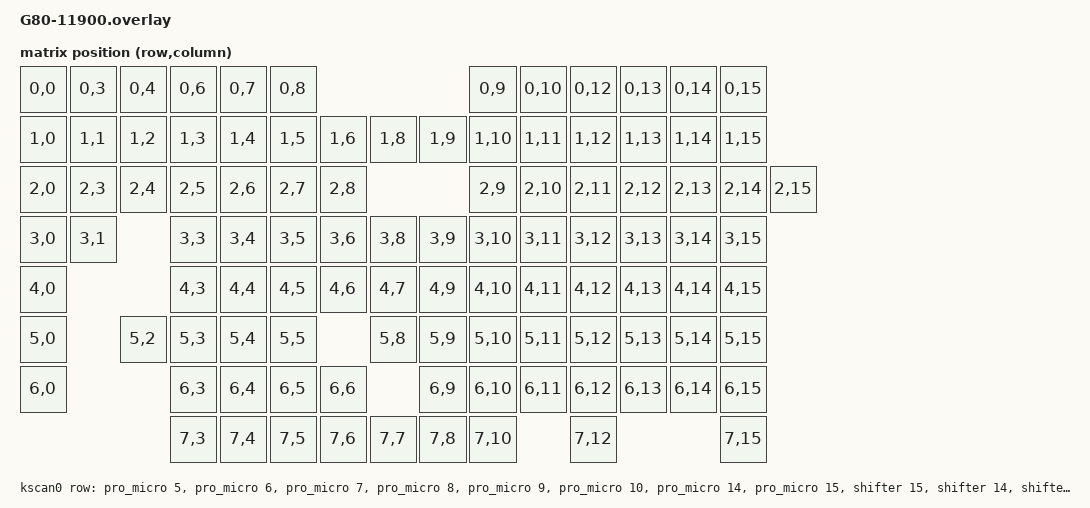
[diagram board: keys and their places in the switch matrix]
#include <dt-bindings/zmk/matrix_transform.h> 

&spi0 {
    status = "okay";
    cs-gpios = <&gpio0 4 GPIO_ACTIVE_LOW>;
    shifter: 595@0 {
        compatible = "zmk,gpio-595";
        status = "okay";
        gpio-controller;
        spi-max-frequency = <200000>;
        reg = <0>;
        #gpio-cells = <2>;
        ngpios = <16>;
    };
};

kscan0: kscan_0 {
    compatible = "zmk,kscan-gpio-matrix";
    diode-direction = "col2row";
    row-gpios
        = <&pro_micro 5 (GPIO_ACTIVE_HIGH | GPIO_PULL_DOWN)>
        , <&pro_micro 6 (GPIO_ACTIVE_HIGH | GPIO_PULL_DOWN)>
        , <&pro_micro 7 (GPIO_ACTIVE_HIGH | GPIO_PULL_DOWN)>
        , <&pro_micro 8 (GPIO_ACTIVE_HIGH | GPIO_PULL_DOWN)>
        , <&pro_micro 9 (GPIO_ACTIVE_HIGH | GPIO_PULL_DOWN)>
        , <&pro_micro 10 (GPIO_ACTIVE_HIGH | GPIO_PULL_DOWN)>
        , <&pro_micro 14 (GPIO_ACTIVE_HIGH | GPIO_PULL_DOWN)>
        , <&pro_micro 15 (GPIO_ACTIVE_HIGH | GPIO_PULL_DOWN)>
    col-gpios
        = <&shifter 15 GPIO_ACTIVE_HIGH>
        , <&shifter 14 GPIO_ACTIVE_HIGH>
        , <&shifter 13 GPIO_ACTIVE_HIGH>
        , <&shifter 12 GPIO_ACTIVE_HIGH>
        , <&shifter 11 GPIO_ACTIVE_HIGH>
        , <&shifter 10 GPIO_ACTIVE_HIGH>
        , <&shifter 9 GPIO_ACTIVE_HIGH>
        , <&shifter 8 GPIO_ACTIVE_HIGH>
        , <&shifter 7 GPIO_ACTIVE_HIGH>
        , <&shifter 6 GPIO_ACTIVE_HIGH>
        , <&shifter 5 GPIO_ACTIVE_HIGH>
        , <&shifter 4 GPIO_ACTIVE_HIGH>
        , <&shifter 3 GPIO_ACTIVE_HIGH>
        , <&shifter 2 GPIO_ACTIVE_HIGH>
        , <&shifter 1 GPIO_ACTIVE_HIGH>
        , <&shifter 0 GPIO_ACTIVE_HIGH>
    ;
};

/ {
    physical_layout0: physical_layout_0 {
        compatible = "zmk,physical-layout";
        display-name = "Cherry G80-11900";
        kscan = <&kscan0>;
        transform = <&matrix_transform0>;
        rows = <8>;
        columns = <16>;

        map = <
            RC(0,0)                 RC(0,3) RC(0,4)         RC(0,6) RC(0,7) RC(0,8) RC(0,9) RC(0,10)          RC(0,12) RC(0,13) RC(0,14) RC(0,15)
            RC(1,0) RC(1,1) RC(1,2) RC(1,3) RC(1,4) RC(1,5) RC(1,6)         RC(1,8) RC(1,9) RC(1,10) RC(1,11) RC(1,12) RC(1,13) RC(1,14) RC(1,15)
            RC(2,0)                 RC(2,3) RC(2,4) RC(2,5) RC(2,6) RC(2,7) RC(2,8) RC(2,9) RC(2,10) RC(2,11) RC(2,12) RC(2,13) RC(2,14) RC(2,15)
            RC(3,0) RC(3,1)         RC(3,3) RC(3,4) RC(3,5) RC(3,6)         RC(3,8) RC(3,9) RC(3,10) RC(3,11) RC(3,12) RC(3,13) RC(3,14) RC(3,15)
            RC(4,0)                 RC(4,3) RC(4,4) RC(4,5) RC(4,6) RC(4,7)         RC(4,9) RC(4,10) RC(4,11) RC(4,12) RC(4,13) RC(4,14) RC(4,15)
            RC(5,0)         RC(5,2) RC(5,3) RC(5,4) RC(5,5)                 RC(5,8) RC(5,9) RC(5,10) RC(5,11) RC(5,12) RC(5,13) RC(5,14) RC(5,15)
            RC(6,0)                 RC(6,3) RC(6,4) RC(6,5) RC(6,6)                 RC(6,9) RC(6,10) RC(6,11) RC(6,12) RC(6,13) RC(6,14) RC(6,15)
                                    RC(7,3) RC(7,4) RC(7,5) RC(7,6) RC(7,7) RC(7,8)         RC(7,10)          RC(7,12)                   RC(7,15)

        keys  //                     w   h    x    y     rot    rx    ry
            = <&key_physical_attrs 100 100  125  600       0     0     0>
            , <&key_physical_attrs 100 100 1800  400       0     0     0>
            , <&key_physical_attrs 200 100 1600  400       0     0     0>
            , <&key_physical_attrs 100 100 1450  625       0     0     0>
            , <&key_physical_attrs 100 100  200  700       0     0     0>
            , <&key_physical_attrs 100 100  600    0       0     0     0>
            , <&key_physical_attrs 100 100  700    0       0     0     0>
            , <&key_physical_attrs 100 100 1175  500       0     0     0>
            , <&key_physical_attrs 100 100  675  500       0     0     0>
            , <&key_physical_attrs 100 100    0    0       0     0     0>
            , <&key_physical_attrs 100 100  500    0       0     0     0>
            , <&key_physical_attrs 100 100  575  500       0     0     0>
            , <&key_physical_attrs 100 100  100  700       0     0     0>
            , <&key_physical_attrs 100 100 1000  700       0     0     0>
            , <&key_physical_attrs 100 100  325  600       0     0     0>
            , <&key_physical_attrs 100 100 1200  700       0     0     0>
            , <&key_physical_attrs 200 100 1225  600       0     0     0>
            , <&key_physical_attrs 100 100 1800    0       0     0     0>
            , <&key_physical_attrs 100 100 1700    0       0     0     0>
            , <&key_physical_attrs 100 100 1600    0       0     0     0>
            , <&key_physical_attrs 100 100 1300    0       0     0     0>
            , <&key_physical_attrs 150 200 1350  400       0     0     0>
            , <&key_physical_attrs 100 100  925  600       0     0     0>
            , <&key_physical_attrs 100 100 1275  500       0     0     0>
            , <&key_physical_attrs 100 100 1025  600       0     0     0>
            , <&key_physical_attrs 100 100  825  600       0     0     0>
            , <&key_physical_attrs 100 100  225  600       0     0     0>
            , <&key_physical_attrs 100 100  425  600       0     0     0>
            , <&key_physical_attrs 100 100  525  600       0     0     0>
            , <&key_physical_attrs 100 100  200  300       0     0     0>
            , <&key_physical_attrs 100 100 1050  100       0     0     0>
            , <&key_physical_attrs 100 100  700  100       0     0     0>
            , <&key_physical_attrs 100 100  600  100       0     0     0>
            , <&key_physical_attrs 100 100  950  100       0     0     0>
            , <&key_physical_attrs 100 100 1150    0       0     0     0>
            , <&key_physical_attrs 100 100  500  100       0     0     0>
            , <&key_physical_attrs 100 100  800  300       0     0     0>
            , <&key_physical_attrs 100 100 1000  300       0     0     0>
            , <&key_physical_attrs 100 100  900  300       0     0     0>
            , <&key_physical_attrs 100 100  700  300       0     0     0>
            , <&key_physical_attrs 100 100  100  300       0     0     0>
            , <&key_physical_attrs 100 100  300  300       0     0     0>
            , <&key_physical_attrs 100 100  400  300       0     0     0>
            , <&key_physical_attrs 100 100  200    0       0     0     0>
            , <&key_physical_attrs 100 100    0  700       0     0     0>
            , <&key_physical_attrs 100 100 1050    0       0     0     0>
            , <&key_physical_attrs 100 100  850    0       0     0     0>
            , <&key_physical_attrs 100 100  850  100       0     0     0>
            , <&key_physical_attrs 100 100  950    0       0     0     0>
            , <&key_physical_attrs 100 100  400  100       0     0     0>
            , <&key_physical_attrs 100 100 1200  300       0     0     0>
            , <&key_physical_attrs 100 100 1100  300       0     0     0>
            , <&key_physical_attrs 100 100  300  100       0     0     0>
            , <&key_physical_attrs 100 100  600  300       0     0     0>
            , <&key_physical_attrs 100 100    0  300       0     0     0>
            , <&key_physical_attrs 100 100  300    0       0     0     0>
            , <&key_physical_attrs 100 100  500  300       0     0     0>
            , <&key_physical_attrs 100 100  250  400       0     0     0>
            , <&key_physical_attrs 100 100 1800  100       0     0     0>
            , <&key_physical_attrs 100 100 1700  100       0     0     0>
            , <&key_physical_attrs 100 100 1600  100       0     0     0>
            , <&key_physical_attrs 100 200 1900  100       0     0     0>
            , <&key_physical_attrs 100 100 1150  100       0     0     0>
            , <&key_physical_attrs 100 100  850  400       0     0     0>
            , <&key_physical_attrs 100 100 1050  400       0     0     0>
            , <&key_physical_attrs 100 100  950  400       0     0     0>
            , <&key_physical_attrs 100 100  750  400       0     0     0>
            , <&key_physical_attrs 100 100  150  400       0     0     0>
            , <&key_physical_attrs 100 100  350  400       0     0     0>
            , <&key_physical_attrs 100 100  450  400       0     0     0>
            , <&key_physical_attrs 175 100    0  500       0     0     0>
            , <&key_physical_attrs 125 100    0  600       0     0     0>
            , <&key_physical_attrs 100 100 1800  200       0     0     0>
            , <&key_physical_attrs 100 100 1700  200       0     0     0>
            , <&key_physical_attrs 100 100 1600  200       0     0     0>
            , <&key_physical_attrs 200 100 1300  300       0     0     0>
            , <&key_physical_attrs 100 100 1250  400       0     0     0>
            , <&key_physical_attrs 100 100 1150  400       0     0     0>
            , <&key_physical_attrs 100 100  200  100       0     0     0>
            , <&key_physical_attrs 100 100  650  400       0     0     0>
            , <&key_physical_attrs 150 100    0  400       0     0     0>
            , <&key_physical_attrs 100 100  400    0       0     0     0>
            , <&key_physical_attrs 100 100  550  400       0     0     0>
            , <&key_physical_attrs 100 100 1100  700       0     0     0>
            , <&key_physical_attrs 100 100  275  500       0     0     0>
            , <&key_physical_attrs 100 100 1800  300       0     0     0>
            , <&key_physical_attrs 100 100 1700  300       0     0     0>
            , <&key_physical_attrs 100 100 1600  300       0     0     0>
            , <&key_physical_attrs 100 200 1900  300       0     0     0>
            , <&key_physical_attrs 100 100  875  500       0     0     0>
            , <&key_physical_attrs 100 100 1075  500       0     0     0>
            , <&key_physical_attrs 100 100  975  500       0     0     0>
            , <&key_physical_attrs 100 100  775  500       0     0     0>
            , <&key_physical_attrs 100 100  175  500       0     0     0>
            , <&key_physical_attrs 100 100  375  500       0     0     0>
            , <&key_physical_attrs 100 100  475  500       0     0     0>
            , <&key_physical_attrs 100 100 1900    0       0     0     0>
            , <&key_physical_attrs 100 100 1550  725       0     0     0>
            , <&key_physical_attrs 100 100 1450  725       0     0     0>
            , <&key_physical_attrs 100 100 1350  725       0     0     0>
            , <&key_physical_attrs 100 100  900  700       0     0     0>
            , <&key_physical_attrs 600 100  300  700       0     0     0>
            , <&key_physical_attrs 100 100 1125  600       0     0     0>
            , <&key_physical_attrs 100 100  725  600       0     0     0>
            , <&key_physical_attrs 100 100  625  600       0     0     0>
            ;
    };

    position_map {
        compatible = "zmk,physical-layout-position-map";

        physical_layout0 {
            physical-layout = <&physical_layout0>;
            positions = <>;
        };
    };
};
